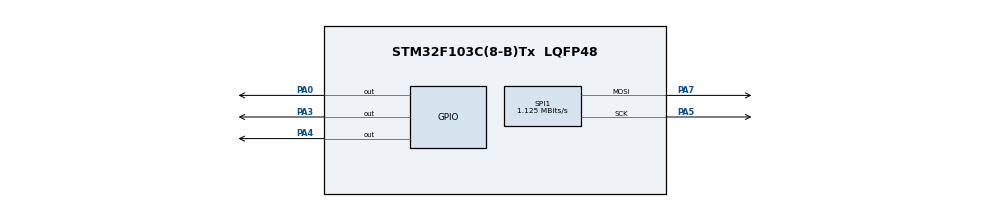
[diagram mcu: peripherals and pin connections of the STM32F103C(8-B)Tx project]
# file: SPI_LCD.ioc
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Dma.Request0=SPI1_TX
Dma.SPI1_TX.0.Direction=DMA_MEMORY_TO_PERIPH
Dma.SPI1_TX.0.Instance=DMA1_Channel3
Dma.SPI1_TX.0.MemDataAlignment=DMA_MDATAALIGN_BYTE
Dma.SPI1_TX.0.MemInc=DMA_MINC_ENABLE
Dma.SPI1_TX.0.Mode=DMA_CIRCULAR
Dma.SPI1_TX.0.PeriphDataAlignment=DMA_PDATAALIGN_BYTE
Dma.SPI1_TX.0.PeriphInc=DMA_PINC_DISABLE
Dma.SPI1_TX.0.Priority=DMA_PRIORITY_MEDIUM
Mcu.Family=STM32F1
Mcu.Name=STM32F103C(8-B)Tx
Mcu.Package=LQFP48
NVIC.DMA1_Channel3_IRQn=true\:0\:0\:false\:false\:true\:false\:true
NVIC.PriorityGroup=NVIC_PRIORITYGROUP_4
PA0-WKUP.Signal=GPIO_Output
PA13.Mode=Serial_Wire
PA13.Signal=SYS_JTMS-SWDIO
PA14.Mode=Serial_Wire
PA14.Signal=SYS_JTCK-SWCLK
PA3.Signal=GPIO_Output
PA4.Signal=GPIO_Output
PA5.Mode=TX_Only_Simplex_Unidirect_Master
PA5.Signal=SPI1_SCK
PA7.Mode=TX_Only_Simplex_Unidirect_Master
PA7.Signal=SPI1_MOSI
PD0-OSC_IN.Mode=HSE-External-Oscillator
PD0-OSC_IN.Signal=RCC_OSC_IN
PD1-OSC_OUT.Mode=HSE-External-Oscillator
PD1-OSC_OUT.Signal=RCC_OSC_OUT
ProjectManager.HeapSize=0x200
ProjectManager.StackSize=0x400
ProjectManager.TargetToolchain=MDK-ARM V5.27
RCC.AHBFreq_Value=72000000
RCC.APB1CLKDivider=RCC_HCLK_DIV2
RCC.APB1Freq_Value=36000000
RCC.APB1TimFreq_Value=72000000
RCC.APB2Freq_Value=72000000
RCC.APB2TimFreq_Value=72000000
RCC.HCLKFreq_Value=72000000
RCC.PLLMUL=RCC_PLL_MUL9
RCC.PLLSourceVirtual=RCC_PLLSOURCE_HSE
RCC.SYSCLKFreq_VALUE=72000000
RCC.SYSCLKSource=RCC_SYSCLKSOURCE_PLLCLK
RCC.USBFreq_Value=72000000
SPI1.BaudRatePrescaler=SPI_BAUDRATEPRESCALER_64
SPI1.CalculateBaudRate=1.125 MBits/s
SPI1.Direction=SPI_DIRECTION_2LINES
SPI1.Mode=SPI_MODE_MASTER
SPI1.VirtualType=VM_MASTER
board=custom

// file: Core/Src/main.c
/* USER CODE BEGIN Header */
/**
  ******************************************************************************
  * @file           : main.c
  * @brief          : Main program body
  ******************************************************************************
  * @attention
  *
  * <h2><center>&copy; Copyright (c) 2021 STMicroelectronics.
  * All rights reserved.</center></h2>
  *
  * This software component is licensed by ST under BSD 3-Clause license,
  * the "License"; You may not use this file except in compliance with the
  * License. You may obtain a copy of the License at:
  *                        opensource.org/licenses/BSD-3-Clause
  *
  ******************************************************************************
  */
/* USER CODE END Header */
#include "main.h"

/* USER CODE BEGIN Includes */
//#include "animation.h"
#include "stdio.h"
#include "font.h"
#include "LCD.h"
#include "string.h"
#include "animation.h"
/* USER CODE END Includes */

/* USER CODE BEGIN PD */
#define ARRAYSIZE (uint32_t) 504
/* USER CODE END PD */

/* USER CODE BEGIN PV */

#define VBSize	504
uint8_t VBuffer[VBSize];

/* USER CODE END PV */

void SystemClock_Config(void);
static void MX_GPIO_Init(void);
static void MX_DMA_Init(void);
static void MX_SPI1_Init(void);

/* USER CODE BEGIN 0 */

		/* function to configure DMA */
	void Transfer_frame(void)
	{
			LCD_goto_xy(0,0);																								//go to positon (0,0) on LCD
			LL_GPIO_ResetOutputPin(LCD_GPIO, CE_pin); 											//put CE to Low state
			LL_GPIO_SetOutputPin(LCD_GPIO, DC_pin); 												//LCD Data Mode

			LL_DMA_ConfigAddresses(DMA1,
														 LL_DMA_CHANNEL_3,												//Channel3 in DMA1 is used for SPI1
														 (uint32_t) VBuffer,											//Address of the first element of the memory buffer
														 LL_SPI_DMA_GetRegAddr(SPI1),							//Addrees of the SPI register to transter data
														 LL_DMA_DIRECTION_MEMORY_TO_PERIPH);			//Direction of the data transmission

			LL_DMA_SetDataLength(DMA1,
													 LL_DMA_CHANNEL_3,
													 (uint32_t) VBSize);												//Size of the transfer

			LL_DMA_EnableChannel(DMA1,																			//Enable DMA1
													 LL_DMA_CHANNEL_3);

			LL_SPI_EnableDMAReq_TX(SPI1);																		//Enable DMA Request for SPI1 (Start the data transfer)
	}
/* USER CODE END 0 */

int main(void)
{

  /* MCU Configuration--------------------------------------------------------*/

  /* Reset of all peripherals, Initializes the Flash interface and the Systick. */

  LL_APB2_GRP1_EnableClock(LL_APB2_GRP1_PERIPH_AFIO);
  LL_APB1_GRP1_EnableClock(LL_APB1_GRP1_PERIPH_PWR);

  NVIC_SetPriorityGrouping(NVIC_PRIORITYGROUP_4);

  /* System interrupt init*/

  /** NOJTAG: JTAG-DP Disabled and SW-DP Enabled
  */
  LL_GPIO_AF_Remap_SWJ_NOJTAG();

  /* Configure the system clock */
  SystemClock_Config();

  /* Initialize all configured peripherals */
  MX_GPIO_Init();
  MX_DMA_Init();
  MX_SPI1_Init();
  /* USER CODE BEGIN 2 */
	LL_SPI_Enable(SPI1);											//Enable SPI1

	LL_mDelay(10);
	LCD_init();																//Initialize the LCD

	LCD_cls();																//Clear the LCD
	LL_mDelay(100);

	Transfer_frame();													//Call the DMA configuration function

  memset(VBuffer,0,VBSize);									//Clear the memory buffer

  /* USER CODE END 2 */

  /* Infinite loop */
	while (1)
  {

    /* USER CODE BEGIN 3 */

		/* Scroll the animation frames with 200ms Delay between them */
		for(int i=0;i<26;i++)
		{
			memcpy(VBuffer, animation_buffer[i], VBSize);
			LL_mDelay(140);
		}

	}

  /* USER CODE END 3 */
}

void SystemClock_Config(void)
{
  LL_FLASH_SetLatency(LL_FLASH_LATENCY_2);
  while(LL_FLASH_GetLatency()!= LL_FLASH_LATENCY_2)
  {
  }
  LL_RCC_HSE_Enable();

   /* Wait till HSE is ready */
  while(LL_RCC_HSE_IsReady() != 1)
  {

  }
  LL_RCC_PLL_ConfigDomain_SYS(LL_RCC_PLLSOURCE_HSE_DIV_1, LL_RCC_PLL_MUL_9);
  LL_RCC_PLL_Enable();

   /* Wait till PLL is ready */
  while(LL_RCC_PLL_IsReady() != 1)
  {

  }
  LL_RCC_SetAHBPrescaler(LL_RCC_SYSCLK_DIV_1);
  LL_RCC_SetAPB1Prescaler(LL_RCC_APB1_DIV_2);
  LL_RCC_SetAPB2Prescaler(LL_RCC_APB2_DIV_1);
  LL_RCC_SetSysClkSource(LL_RCC_SYS_CLKSOURCE_PLL);

   /* Wait till System clock is ready */
  while(LL_RCC_GetSysClkSource() != LL_RCC_SYS_CLKSOURCE_STATUS_PLL)
  {

  }
  LL_Init1msTick(72000000);
  LL_SetSystemCoreClock(72000000);
}

static void MX_SPI1_Init(void)
{

  LL_SPI_InitTypeDef SPI_InitStruct = {0};

  LL_GPIO_InitTypeDef GPIO_InitStruct = {0};

  /* Peripheral clock enable */
  LL_APB2_GRP1_EnableClock(LL_APB2_GRP1_PERIPH_SPI1);

  LL_APB2_GRP1_EnableClock(LL_APB2_GRP1_PERIPH_GPIOA);
  /**SPI1 GPIO Configuration
  PA5   ------> SPI1_SCK
  PA7   ------> SPI1_MOSI
  */
  GPIO_InitStruct.Pin = LL_GPIO_PIN_5|LL_GPIO_PIN_7;
  GPIO_InitStruct.Mode = LL_GPIO_MODE_ALTERNATE;
  GPIO_InitStruct.Speed = LL_GPIO_SPEED_FREQ_HIGH;
  GPIO_InitStruct.OutputType = LL_GPIO_OUTPUT_PUSHPULL;
  LL_GPIO_Init(GPIOA, &GPIO_InitStruct);

  /* SPI1 DMA Init */

  /* SPI1_TX Init */
  LL_DMA_SetDataTransferDirection(DMA1, LL_DMA_CHANNEL_3, LL_DMA_DIRECTION_MEMORY_TO_PERIPH);

  LL_DMA_SetChannelPriorityLevel(DMA1, LL_DMA_CHANNEL_3, LL_DMA_PRIORITY_MEDIUM);

  LL_DMA_SetMode(DMA1, LL_DMA_CHANNEL_3, LL_DMA_MODE_CIRCULAR);

  LL_DMA_SetPeriphIncMode(DMA1, LL_DMA_CHANNEL_3, LL_DMA_PERIPH_NOINCREMENT);

  LL_DMA_SetMemoryIncMode(DMA1, LL_DMA_CHANNEL_3, LL_DMA_MEMORY_INCREMENT);

  LL_DMA_SetPeriphSize(DMA1, LL_DMA_CHANNEL_3, LL_DMA_PDATAALIGN_BYTE);

  LL_DMA_SetMemorySize(DMA1, LL_DMA_CHANNEL_3, LL_DMA_MDATAALIGN_BYTE);

  /* SPI1 parameter configuration*/
  SPI_InitStruct.TransferDirection = LL_SPI_FULL_DUPLEX;
  SPI_InitStruct.Mode = LL_SPI_MODE_MASTER;
  SPI_InitStruct.DataWidth = LL_SPI_DATAWIDTH_8BIT;
  SPI_InitStruct.ClockPolarity = LL_SPI_POLARITY_LOW;
  SPI_InitStruct.ClockPhase = LL_SPI_PHASE_1EDGE;
  SPI_InitStruct.NSS = LL_SPI_NSS_SOFT;
  SPI_InitStruct.BaudRate = LL_SPI_BAUDRATEPRESCALER_DIV64;
  SPI_InitStruct.BitOrder = LL_SPI_MSB_FIRST;
  SPI_InitStruct.CRCCalculation = LL_SPI_CRCCALCULATION_DISABLE;
  SPI_InitStruct.CRCPoly = 10;
  LL_SPI_Init(SPI1, &SPI_InitStruct);

}

static void MX_DMA_Init(void)
{

  /* Init with LL driver */
  /* DMA controller clock enable */
  LL_AHB1_GRP1_EnableClock(LL_AHB1_GRP1_PERIPH_DMA1);

  /* DMA interrupt init */
  /* DMA1_Channel3_IRQn interrupt configuration */
  NVIC_SetPriority(DMA1_Channel3_IRQn, NVIC_EncodePriority(NVIC_GetPriorityGrouping(),0, 0));
  NVIC_EnableIRQ(DMA1_Channel3_IRQn);

}

static void MX_GPIO_Init(void)
{
  LL_GPIO_InitTypeDef GPIO_InitStruct = {0};

  /* GPIO Ports Clock Enable */
  LL_APB2_GRP1_EnableClock(LL_APB2_GRP1_PERIPH_GPIOD);
  LL_APB2_GRP1_EnableClock(LL_APB2_GRP1_PERIPH_GPIOA);

  /**/
  LL_GPIO_ResetOutputPin(GPIOA, LL_GPIO_PIN_0|LL_GPIO_PIN_3|LL_GPIO_PIN_4);

  /**/
  GPIO_InitStruct.Pin = LL_GPIO_PIN_0|LL_GPIO_PIN_3|LL_GPIO_PIN_4;
  GPIO_InitStruct.Mode = LL_GPIO_MODE_OUTPUT;
  GPIO_InitStruct.Speed = LL_GPIO_SPEED_FREQ_LOW;
  GPIO_InitStruct.OutputType = LL_GPIO_OUTPUT_PUSHPULL;
  LL_GPIO_Init(GPIOA, &GPIO_InitStruct);

}

void Error_Handler(void)
{
}

/************************ (C) COPYRIGHT STMicroelectronics *****END OF FILE****/
